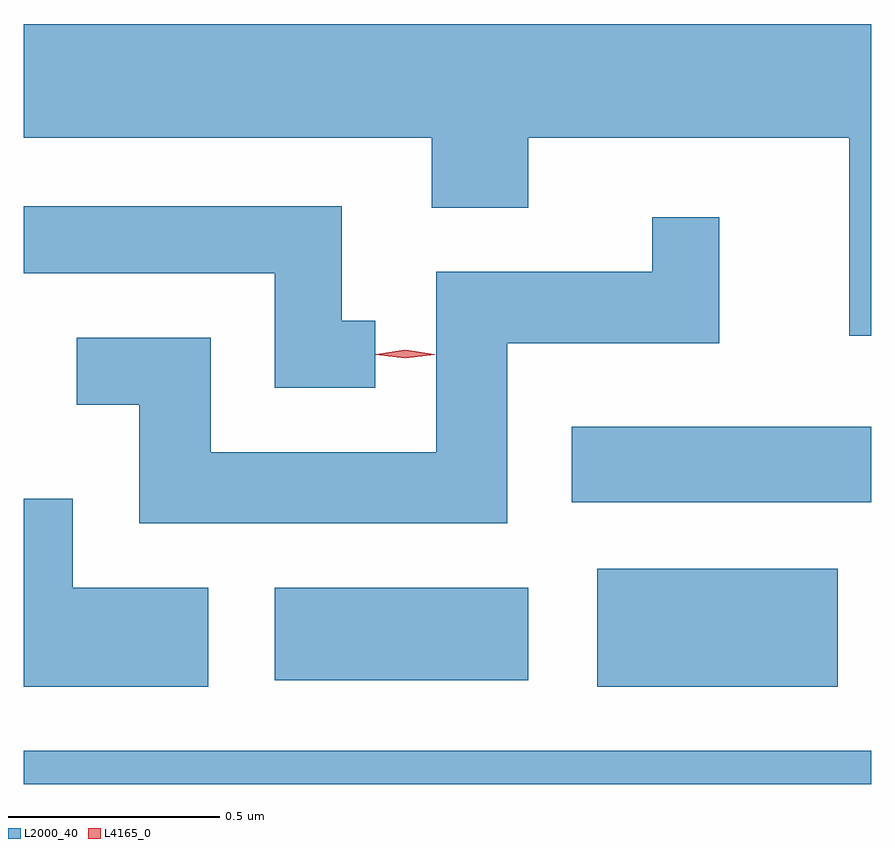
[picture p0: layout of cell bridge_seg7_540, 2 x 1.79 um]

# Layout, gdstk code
import gdstk
lib = gdstk.Library(unit=1e-6, precision=1e-09)
def R(c, l, rs):  # rectangles x0, y0, x1, y1
    for r in rs: c.add(gdstk.rectangle(r[:2], r[2:], *l))
def P(c, l, *ps):  # polygons
    for p in ps: c.add(gdstk.Polygon(p, *l))
L2000_40 = (2000, 40)
L4165_0 = (4165, 0)

bridge_seg7_540 = lib.new_cell('bridge_seg7_540')
R(bridge_seg7_540, L2000_40, [(1248.498,1703.911,1250.498,1703.989), (1249.851,1704.141,1250.419,1704.419), (1249.091,1704.156,1249.689,1704.374), (1249.791,1704.576,1250.498,1704.754)])
P(bridge_seg7_540, L2000_40, [(1250.498,1705.704),(1248.498,1705.704),(1248.498,1705.436),(1249.461,1705.436),(1249.461,1705.271),(1249.689,1705.271),(1249.689,1705.436),(1250.446,1705.436),(1250.446,1704.968),(1250.498,1704.968)],
  [(1249.328,1705.004),(1249.249,1705.004),(1249.249,1705.274),(1248.498,1705.274),(1248.498,1705.116),(1249.091,1705.116),(1249.091,1704.846),(1249.328,1704.846)],
  [(1249.639,1704.951),(1250.139,1704.951),(1250.139,1705.248),(1249.981,1705.248),(1249.981,1705.119),(1249.471,1705.119),(1249.471,1704.694),(1248.939,1704.694),(1248.939,1704.964),(1248.623,1704.964),(1248.623,1704.806),(1248.771,1704.806),(1248.771,1704.526),(1249.639,1704.526)],
  [(1248.934,1704.374),(1248.614,1704.374),(1248.614,1704.584),(1248.498,1704.584),(1248.498,1704.141),(1248.934,1704.141)])
P(bridge_seg7_540, L4165_0, [(1249.398,1704.915),(1249.329,1704.924),(1249.329,1704.925),(1249.329,1704.925),(1249.398,1704.935),(1249.468,1704.925),(1249.468,1704.924),(1249.468,1704.924)])

lib.write_gds('bridge_seg7_540.gds')
